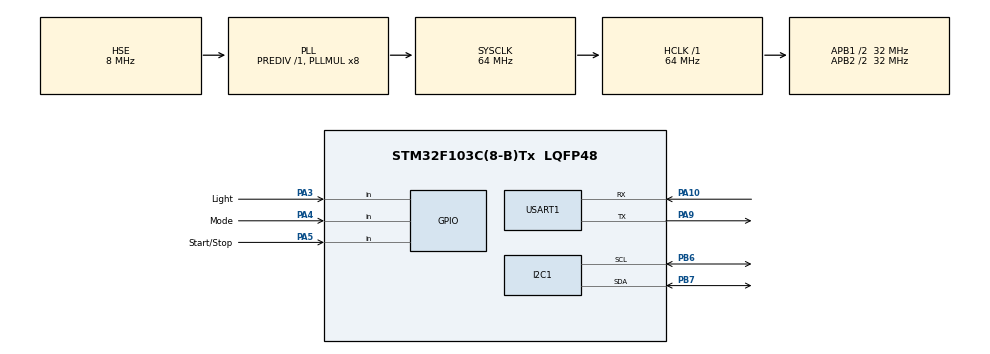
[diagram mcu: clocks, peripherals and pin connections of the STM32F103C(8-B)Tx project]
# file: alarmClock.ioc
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Mcu.Family=STM32F1
Mcu.Name=STM32F103C(8-B)Tx
Mcu.Package=LQFP48
NVIC.PriorityGroup=NVIC_PRIORITYGROUP_4
NVIC.TIM2_IRQn=true\:1\:0\:true\:false\:true\:true\:true\:true
PA10.Mode=Asynchronous
PA10.Signal=USART1_RX
PA13.Mode=Serial_Wire
PA13.Signal=SYS_JTMS-SWDIO
PA14.Mode=Serial_Wire
PA14.Signal=SYS_JTCK-SWCLK
PA3.GPIO_Label=Light
PA3.GPIO_Mode=GPIO_MODE_INPUT
PA3.GPIO_PuPd=GPIO_PULLUP
PA3.Signal=GPIO_Input
PA4.GPIO_Label=Mode
PA4.GPIO_PuPd=GPIO_PULLUP
PA4.Signal=GPIO_Input
PA5.GPIO_Label=Start/Stop
PA5.GPIO_PuPd=GPIO_PULLUP
PA5.Signal=GPIO_Input
PA9.Mode=Asynchronous
PA9.Signal=USART1_TX
PB6.Mode=I2C
PB6.Signal=I2C1_SCL
PB7.Mode=I2C
PB7.Signal=I2C1_SDA
PD0-OSC_IN.Mode=HSE-External-Oscillator
PD0-OSC_IN.Signal=RCC_OSC_IN
PD1-OSC_OUT.Mode=HSE-External-Oscillator
PD1-OSC_OUT.Signal=RCC_OSC_OUT
ProjectManager.HeapSize=0x200
ProjectManager.StackSize=0x400
ProjectManager.TargetToolchain=STM32CubeIDE
RCC.AHBFreq_Value=64000000
RCC.APB1CLKDivider=RCC_HCLK_DIV2
RCC.APB1Freq_Value=32000000
RCC.APB1TimFreq_Value=64000000
RCC.APB2CLKDivider=RCC_HCLK_DIV2
RCC.APB2Freq_Value=32000000
RCC.APB2TimFreq_Value=64000000
RCC.HCLKFreq_Value=64000000
RCC.PLLMUL=RCC_PLL_MUL8
RCC.PLLSourceVirtual=RCC_PLLSOURCE_HSE
RCC.SYSCLKFreq_VALUE=64000000
RCC.SYSCLKSource=RCC_SYSCLKSOURCE_PLLCLK
RCC.USBFreq_Value=64000000
TIM2.Period=999
TIM2.Prescaler=63999
USART1.VirtualMode=VM_ASYNC
VP_TIM2_VS_ClockSourceINT.Mode=Internal
board=custom

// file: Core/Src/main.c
/* USER CODE BEGIN Header */
/**
  ******************************************************************************
  * @file           : main.c
  * @brief          : Main program body
  ******************************************************************************
  * @attention
  *
  * Copyright (c) 2024 STMicroelectronics.
  * All rights reserved.
  *
  * This software is licensed under terms that can be found in the LICENSE file
  * in the root directory of this software component.
  * If no LICENSE file comes with this software, it is provided AS-IS.
  *
  ******************************************************************************
  */
/* USER CODE END Header */
#include "main.h"

/* USER CODE BEGIN Includes */
#include "alarmclock.h"
/* USER CODE END Includes */

I2C_HandleTypeDef hi2c1;

TIM_HandleTypeDef htim2;

UART_HandleTypeDef huart1;

void SystemClock_Config(void);
static void MX_GPIO_Init(void);
static void MX_I2C1_Init(void);
static void MX_USART1_UART_Init(void);
static void MX_TIM2_Init(void);

/* USER CODE BEGIN 0 */
timedate td;

void HAL_TIM_PeriodElapsedCallback(TIM_HandleTypeDef *htim)
{
  if(htim->Instance == htim2.Instance)
  {
	  alarmClock_STOP_WATCH_TIM_IT_handle();
  }
}

/* USER CODE END 0 */

int main(void)
{

  /* MCU Configuration--------------------------------------------------------*/

  /* Reset of all peripherals, Initializes the Flash interface and the Systick. */
  HAL_Init();

  /* Configure the system clock */
  SystemClock_Config();

  /* Initialize all configured peripherals */
  MX_GPIO_Init();
  MX_I2C1_Init();
  MX_USART1_UART_Init();
  MX_TIM2_Init();
  /* USER CODE BEGIN 2 */
  td.hour = 00;
  td.minute = 00;
  td.second = 30;
  td.day = 5;
  td.date = 9;
  td.month = 5;
  td.year = 24;
  alarmClock_init(&hi2c1, &htim2, &td, Start_Stop_GPIO_Port, Start_Stop_Pin,
		  Mode_GPIO_Port, Mode_Pin, Light_GPIO_Port, Light_Pin);

  /* USER CODE END 2 */

  /* Infinite loop */
  while (1)
  {

    /* USER CODE BEGIN 3 */
	  alarmClock_buttons_handle();
	  alarmClock_display_handle();
	  alarmClock_alarm_handle();

  }
  /* USER CODE END 3 */
}

void SystemClock_Config(void)
{
  RCC_OscInitTypeDef RCC_OscInitStruct = {0};
  RCC_ClkInitTypeDef RCC_ClkInitStruct = {0};

  /** Initializes the RCC Oscillators according to the specified parameters
  * in the RCC_OscInitTypeDef structure.
  */
  RCC_OscInitStruct.OscillatorType = RCC_OSCILLATORTYPE_HSE;
  RCC_OscInitStruct.HSEState = RCC_HSE_ON;
  RCC_OscInitStruct.HSEPredivValue = RCC_HSE_PREDIV_DIV1;
  RCC_OscInitStruct.HSIState = RCC_HSI_ON;
  RCC_OscInitStruct.PLL.PLLState = RCC_PLL_ON;
  RCC_OscInitStruct.PLL.PLLSource = RCC_PLLSOURCE_HSE;
  RCC_OscInitStruct.PLL.PLLMUL = RCC_PLL_MUL8;
  if (HAL_RCC_OscConfig(&RCC_OscInitStruct) != HAL_OK)
  {
    Error_Handler();
  }

  /** Initializes the CPU, AHB and APB buses clocks
  */
  RCC_ClkInitStruct.ClockType = RCC_CLOCKTYPE_HCLK|RCC_CLOCKTYPE_SYSCLK
                              |RCC_CLOCKTYPE_PCLK1|RCC_CLOCKTYPE_PCLK2;
  RCC_ClkInitStruct.SYSCLKSource = RCC_SYSCLKSOURCE_PLLCLK;
  RCC_ClkInitStruct.AHBCLKDivider = RCC_SYSCLK_DIV1;
  RCC_ClkInitStruct.APB1CLKDivider = RCC_HCLK_DIV2;
  RCC_ClkInitStruct.APB2CLKDivider = RCC_HCLK_DIV2;

  if (HAL_RCC_ClockConfig(&RCC_ClkInitStruct, FLASH_LATENCY_2) != HAL_OK)
  {
    Error_Handler();
  }
}

static void MX_I2C1_Init(void)
{

  hi2c1.Instance = I2C1;
  hi2c1.Init.ClockSpeed = 100000;
  hi2c1.Init.DutyCycle = I2C_DUTYCYCLE_2;
  hi2c1.Init.OwnAddress1 = 0;
  hi2c1.Init.AddressingMode = I2C_ADDRESSINGMODE_7BIT;
  hi2c1.Init.DualAddressMode = I2C_DUALADDRESS_DISABLE;
  hi2c1.Init.OwnAddress2 = 0;
  hi2c1.Init.GeneralCallMode = I2C_GENERALCALL_DISABLE;
  hi2c1.Init.NoStretchMode = I2C_NOSTRETCH_DISABLE;
  if (HAL_I2C_Init(&hi2c1) != HAL_OK)
  {
    Error_Handler();
  }

}

static void MX_TIM2_Init(void)
{

  TIM_ClockConfigTypeDef sClockSourceConfig = {0};
  TIM_MasterConfigTypeDef sMasterConfig = {0};

  htim2.Instance = TIM2;
  htim2.Init.Prescaler = 63999;
  htim2.Init.CounterMode = TIM_COUNTERMODE_UP;
  htim2.Init.Period = 999;
  htim2.Init.ClockDivision = TIM_CLOCKDIVISION_DIV1;
  htim2.Init.AutoReloadPreload = TIM_AUTORELOAD_PRELOAD_DISABLE;
  if (HAL_TIM_Base_Init(&htim2) != HAL_OK)
  {
    Error_Handler();
  }
  sClockSourceConfig.ClockSource = TIM_CLOCKSOURCE_INTERNAL;
  if (HAL_TIM_ConfigClockSource(&htim2, &sClockSourceConfig) != HAL_OK)
  {
    Error_Handler();
  }
  sMasterConfig.MasterOutputTrigger = TIM_TRGO_RESET;
  sMasterConfig.MasterSlaveMode = TIM_MASTERSLAVEMODE_DISABLE;
  if (HAL_TIMEx_MasterConfigSynchronization(&htim2, &sMasterConfig) != HAL_OK)
  {
    Error_Handler();
  }

}

static void MX_USART1_UART_Init(void)
{

  huart1.Instance = USART1;
  huart1.Init.BaudRate = 115200;
  huart1.Init.WordLength = UART_WORDLENGTH_8B;
  huart1.Init.StopBits = UART_STOPBITS_1;
  huart1.Init.Parity = UART_PARITY_NONE;
  huart1.Init.Mode = UART_MODE_TX_RX;
  huart1.Init.HwFlowCtl = UART_HWCONTROL_NONE;
  huart1.Init.OverSampling = UART_OVERSAMPLING_16;
  if (HAL_UART_Init(&huart1) != HAL_OK)
  {
    Error_Handler();
  }

}

static void MX_GPIO_Init(void)
{
  GPIO_InitTypeDef GPIO_InitStruct = {0};

  /* GPIO Ports Clock Enable */
  __HAL_RCC_GPIOD_CLK_ENABLE();
  __HAL_RCC_GPIOA_CLK_ENABLE();
  __HAL_RCC_GPIOB_CLK_ENABLE();

  /*Configure GPIO pins : Light_Pin Mode_Pin Start_Stop_Pin */
  GPIO_InitStruct.Pin = Light_Pin|Mode_Pin|Start_Stop_Pin;
  GPIO_InitStruct.Mode = GPIO_MODE_INPUT;
  GPIO_InitStruct.Pull = GPIO_PULLUP;
  HAL_GPIO_Init(GPIOA, &GPIO_InitStruct);

}

void Error_Handler(void)
{
  __disable_irq();
  while (1)
  {
  }
}
